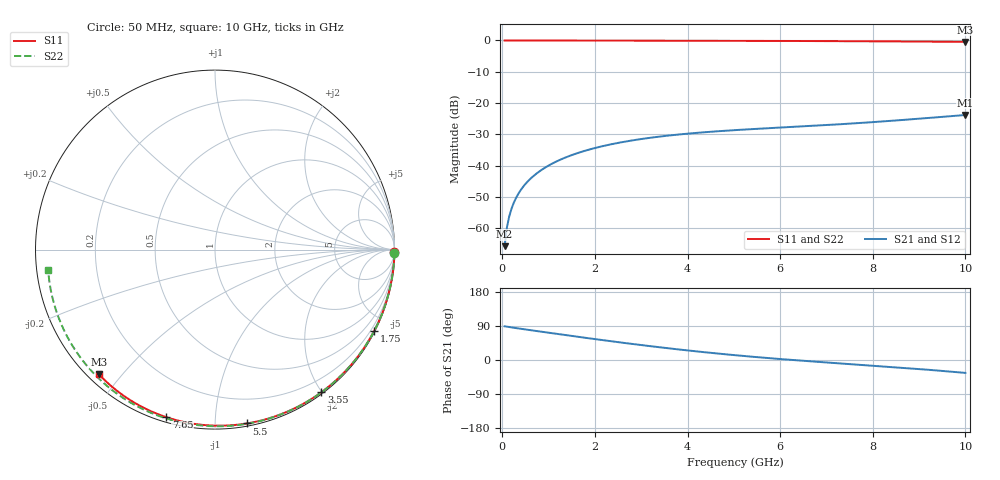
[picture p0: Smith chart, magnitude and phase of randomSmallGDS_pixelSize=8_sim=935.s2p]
! freq	dB(S11)	phase(S11)	dB(S12)	phase(S12)
!  dB(S21)	phase(S21)	dB(S22)	phase(S22)
!S-par simulation data
#  GHz  S  DB  R 50
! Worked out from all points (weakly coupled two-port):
!   200 points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, 50 MHz to 10 GHz, reference 50 ohm
!   highest |S21| = -23.78 dB at 10 GHz (marker M1); lowest = -65.6 dB at 50 MHz (marker M2)
!   lowest |S11| = -0.5 dB at 10 GHz (marker M3), VSWR 38.32, Z = 1.55 - j21.7 ohm
!   |S11| at or under -10 dB: nowhere
!   |S22| runs from -0.6 to 0.0 dB; largest |S21 - S12| = 0
!   S11 on the Smith chart (normalised r, x): 50 MHz: open; 1.75 GHz: 0.04, -4.18; 3.55 GHz: 0.02, -1.99; 5.5 GHz: 0.02, -1.20; 7.65 GHz: 0.02, -0.75; 10 GHz: 0.03, -0.43
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0.05  -0.00 -0.8  -65.64 89.0  -65.64 89.0  -0.00 -1.0
0.1  -0.00 -1.6  -59.63 87.9  -59.63 87.9  -0.00 -2.0
0.15  -0.00 -2.4  -56.12 86.9  -56.12 86.9  -0.00 -3.0
0.2  -0.00 -3.1  -53.64 86.0  -53.64 86.0  -0.00 -4.0
0.25  -0.00 -3.9  -51.72 85.0  -51.72 85.0  -0.00 -5.0
0.35  -0.00 -5.5  -48.84 83.2  -48.84 83.2  -0.01 -7.1
0.5  -0.01 -7.8  -45.79 80.6  -45.79 80.6  -0.01 -10.1
0.7  -0.01 -10.9  -42.92 77.2  -42.92 77.2  -0.02 -14.1
1  -0.02 -15.5  -39.91 72.0  -39.91 72.0  -0.02 -20.0
1.35  -0.03 -20.9  -37.43 66.0  -37.43 66.0  -0.03 -26.9
1.75  -0.04 -26.9  -35.36 59.3  -35.36 59.3  -0.05 -34.6
2.6  -0.05 -39.6  -32.41 45.5  -32.41 45.5  -0.07 -50.8
3.4  -0.07 -51.2  -30.67 33.5  -30.67 33.5  -0.09 -65.4
3.55  -0.07 -53.3  -30.41 31.4  -30.41 31.4  -0.09 -68.1
4.3  -0.09 -63.7  -29.36 21.4  -29.36 21.4  -0.12 -81.2
5.05  -0.12 -73.8  -28.58 12.4  -28.58 12.4  -0.15 -93.9
5.5  -0.13 -79.7  -28.20 7.5  -28.20 7.5  -0.17 -101.3
6.7  -0.19 -94.8  -27.24 -3.8  -27.24 -3.8  -0.24 -120.4
7.65  -0.24 -106.2  -26.40 -11.9  -26.40 -11.9  -0.31 -135.3
8.35  -0.29 -114.3  -25.69 -17.9  -25.69 -17.9  -0.37 -146.2
9.2  -0.37 -124.0  -24.73 -25.8  -24.73 -25.8  -0.47 -159.7
10  -0.45 -133.0  -23.78 -34.0  -23.78 -34.0  -0.57 -173.0
